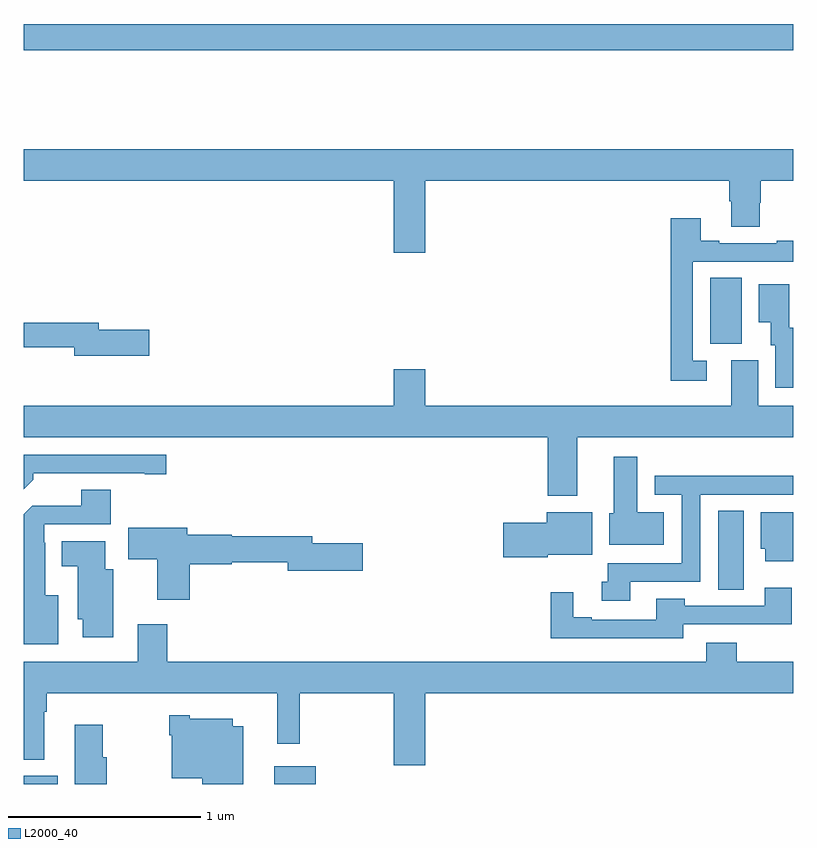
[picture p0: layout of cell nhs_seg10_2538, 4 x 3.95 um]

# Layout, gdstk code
import gdstk
lib = gdstk.Library(unit=1e-6, precision=1e-09)
def R(c, l, rs):  # rectangles x0, y0, x1, y1
    for r in rs: c.add(gdstk.rectangle(r[:2], r[2:], *l))
def P(c, l, *ps):  # polygons
    for p in ps: c.add(gdstk.Polygon(p, *l))
L2000_40 = (2000, 40)

nhs_seg10_2538 = lib.new_cell('nhs_seg10_2538')
R(nhs_seg10_2538, L2000_40, [(247,1310.5,247.176,1310.542), (248.303,1310.5,248.518,1310.593), (250.61,1311.511,250.744,1311.92), (250.568,1312.789,250.732,1313.132), (247,1314.316,251,1314.452)])
P(nhs_seg10_2538, L2000_40, [(249.088,1313.636),(250.667,1313.636),(250.667,1313.53),(250.679,1313.53),(250.679,1313.398),(250.827,1313.398),(250.827,1313.523),(250.832,1313.523),(250.832,1313.636),(251,1313.636),(251,1313.8),(247,1313.8),(247,1313.636),(248.924,1313.636),(248.924,1313.262),(249.088,1313.262)],
  [(250.552,1312.701),(250.479,1312.701),(250.479,1313.217),(251,1313.217),(251,1313.326),(250.915,1313.326),(250.915,1313.313),(250.615,1313.313),(250.615,1313.326),(250.519,1313.326),(250.519,1313.443),(250.363,1313.443),(250.363,1312.596),(250.552,1312.596)],
  [(251,1312.872),(250.981,1312.872),(250.981,1313.098),(250.82,1313.098),(250.82,1312.901),(250.883,1312.901),(250.883,1312.782),(250.908,1312.782),(250.908,1312.56),(251,1312.56)],
  [(247.651,1312.862),(247.39,1312.862),(247.39,1312.898),(247,1312.898),(247,1312.77),(247.262,1312.77),(247.262,1312.727),(247.651,1312.727)],
  [(249.877,1312.304),(251,1312.304),(251,1312.468),(250.819,1312.468),(250.819,1312.704),(250.679,1312.704),(250.679,1312.468),(249.088,1312.468),(249.088,1312.657),(248.924,1312.657),(248.924,1312.468),(247,1312.468),(247,1312.304),(249.725,1312.304),(249.725,1311.999),(249.877,1311.999)],
  [(247.049,1312.082),(247.049,1312.116),(247.628,1312.116),(247.628,1312.111),(247.741,1312.111),(247.741,1312.212),(247,1312.212),(247,1312.033)],
  [(250.327,1311.913),(250.189,1311.913),(250.189,1312.201),(250.067,1312.201),(250.067,1311.909),(250.043,1311.909),(250.043,1311.743),(250.327,1311.743)],
  [(250.153,1311.552),(250.518,1311.552),(250.518,1312.005),(251,1312.005),(251,1312.103),(250.281,1312.103),(250.281,1312.005),(250.422,1312.005),(250.422,1311.648),(250.036,1311.648),(250.036,1311.551),(250.005,1311.551),(250.005,1311.453),(250.153,1311.453)],
  [(247.18,1311.481),(247.111,1311.481),(247.111,1311.755),(247.107,1311.755),(247.107,1311.852),(247.451,1311.852),(247.451,1312.031),(247.298,1312.031),(247.298,1311.948),(247.044,1311.948),(247,1311.904),(247,1311.227),(247.18,1311.227)],
  [(249.723,1311.692),(249.955,1311.692),(249.955,1311.913),(249.719,1311.913),(249.719,1311.858),(249.492,1311.858),(249.492,1311.68),(249.723,1311.68)],
  [(251,1311.913),(250.832,1311.913),(250.832,1311.723),(250.856,1311.723),(250.856,1311.659),(251,1311.659)],
  [(247.862,1311.644),(248.082,1311.644),(248.082,1311.652),(248.372,1311.652),(248.372,1311.61),(248.761,1311.61),(248.761,1311.752),(248.5,1311.752),(248.5,1311.788),(248.082,1311.788),(248.082,1311.796),(247.849,1311.796),(247.849,1311.832),(247.542,1311.832),(247.542,1311.67),(247.694,1311.67),(247.694,1311.459),(247.862,1311.459)],
  [(247.465,1311.616),(247.423,1311.616),(247.423,1311.763),(247.196,1311.763),(247.196,1311.632),(247.28,1311.632),(247.28,1311.357),(247.307,1311.357),(247.307,1311.264),(247.465,1311.264)],
  [(250.429,1311.33),(250.993,1311.33),(250.993,1311.52),(250.853,1311.52),(250.853,1311.426),(250.437,1311.426),(250.437,1311.463),(250.289,1311.463),(250.289,1311.354),(249.952,1311.354),(249.952,1311.367),(249.856,1311.367),(249.856,1311.496),(249.739,1311.496),(249.739,1311.258),(250.429,1311.258)],
  [(249.088,1310.972),(251,1310.972),(251,1311.136),(250.707,1311.136),(250.707,1311.235),(250.547,1311.235),(250.547,1311.136),(247.745,1311.136),(247.745,1311.331),(247.592,1311.331),(247.592,1311.136),(247,1311.136),(247,1310.627),(247.105,1310.627),(247.105,1310.876),(247.118,1310.876),(247.118,1310.972),(248.317,1310.972),(248.317,1310.709),(248.435,1310.709),(248.435,1310.972),(248.924,1310.972),(248.924,1310.598),(249.088,1310.598)],
  [(248.14,1310.8),(248.086,1310.8),(248.086,1310.839),(247.863,1310.839),(247.863,1310.857),(247.755,1310.857),(247.755,1310.753),(247.769,1310.753),(247.769,1310.531),(247.928,1310.531),(247.928,1310.5),(248.14,1310.5)],
  [(247.431,1310.64),(247.41,1310.64),(247.41,1310.809),(247.265,1310.809),(247.265,1310.5),(247.431,1310.5)])

lib.write_gds('nhs_seg10_2538.gds')
